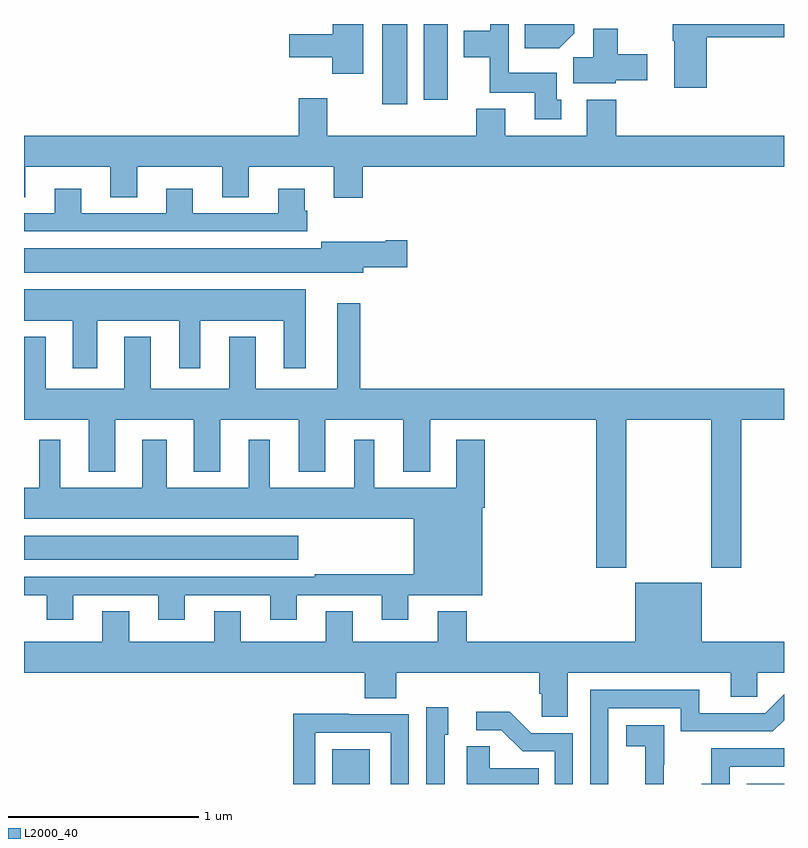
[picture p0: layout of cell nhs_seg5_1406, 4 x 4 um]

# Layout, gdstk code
import gdstk
lib = gdstk.Library(unit=1e-6, precision=1e-09)
def R(c, l, rs):  # rectangles x0, y0, x1, y1
    for r in rs: c.add(gdstk.rectangle(r[:2], r[2:], *l))
def P(c, l, *ps):  # polygons
    for p in ps: c.add(gdstk.Polygon(p, *l))
L2000_40 = (2000, 40)

nhs_seg5_1406 = lib.new_cell('nhs_seg5_1406')
R(nhs_seg5_1406, L2000_40, [(196.622,898.799,196.819,898.981), (198.804,898.799,199,898.8), (195,899.978,196.444,900.106), (196.886,902.376,197.017,902.799), (197.105,902.4,197.23,902.799)])
P(nhs_seg5_1406, L2000_40, [(198.593,902.728),(199,902.728),(199,902.799),(198.415,902.799),(198.415,902.711),(198.422,902.711),(198.422,902.463),(198.593,902.463)],
  [(196.786,902.799),(196.624,902.799),(196.624,902.746),(196.395,902.746),(196.395,902.624),(196.622,902.624),(196.622,902.538),(196.786,902.538)],
  [(197.896,902.75),(197.896,902.799),(197.635,902.799),(197.635,902.672),(197.818,902.672)],
  [(197.827,902.4),(197.803,902.4),(197.803,902.542),(197.55,902.542),(197.55,902.799),(197.454,902.799),(197.454,902.764),(197.315,902.764),(197.315,902.624),(197.452,902.624),(197.452,902.438),(197.687,902.438),(197.687,902.298),(197.827,902.298)],
  [(198.114,902.504),(198.28,902.504),(198.28,902.639),(198.126,902.639),(198.126,902.773),(197.996,902.773),(197.996,902.624),(197.891,902.624),(197.891,902.486),(198.114,902.486)],
  [(196.784,902.048),(199,902.048),(199,902.212),(198.116,902.212),(198.116,902.401),(197.963,902.401),(197.963,902.212),(197.533,902.212),(197.533,902.353),(197.381,902.353),(197.381,902.212),(196.597,902.212),(196.597,902.407),(196.445,902.407),(196.445,902.212),(195,902.212),(195,901.888),(195.007,901.888),(195.007,902.048),(195.455,902.048),(195.455,901.888),(195.595,901.888),(195.595,902.048),(196.043,902.048),(196.043,901.888),(196.183,901.888),(196.183,902.048),(196.631,902.048),(196.631,901.884),(196.784,901.884)],
  [(196.49,901.815),(196.477,901.815),(196.477,901.933),(196.337,901.933),(196.337,901.803),(195.889,901.803),(195.889,901.933),(195.749,901.933),(195.749,901.803),(195.301,901.803),(195.301,901.933),(195.161,901.933),(195.161,901.803),(195,901.803),(195,901.707),(196.49,901.707)],
  [(196.786,901.52),(197.017,901.52),(197.017,901.662),(196.904,901.662),(196.904,901.654),(196.565,901.654),(196.565,901.618),(195,901.618),(195,901.49),(196.786,901.49)],
  [(195.385,901.238),(195.818,901.238),(195.818,900.987),(195.928,900.987),(195.928,901.238),(196.367,901.238),(196.367,900.987),(196.483,900.987),(196.483,901.402),(195,901.402),(195,901.238),(195.257,901.238),(195.257,900.987),(195.385,900.987)],
  [(198.171,900.716),(198.616,900.716),(198.616,899.937),(198.776,899.937),(198.776,900.716),(199,900.716),(199,900.88),(196.771,900.88),(196.771,901.33),(196.649,901.33),(196.649,900.88),(196.219,900.88),(196.219,901.153),(196.079,901.153),(196.079,900.88),(195.667,900.88),(195.667,901.153),(195.527,901.153),(195.527,900.88),(195.115,900.88),(195.115,901.153),(195,901.153),(195,900.716),(195.341,900.716),(195.341,900.443),(195.481,900.443),(195.481,900.716),(195.893,900.716),(195.893,900.443),(196.033,900.443),(196.033,900.716),(196.445,900.716),(196.445,900.443),(196.585,900.443),(196.585,900.716),(196.997,900.716),(196.997,900.443),(197.137,900.443),(197.137,900.716),(198.011,900.716),(198.011,899.937),(198.171,899.937)],
  [(195.259,899.793),(195.707,899.793),(195.707,899.664),(195.847,899.664),(195.847,899.793),(196.295,899.793),(196.295,899.664),(196.435,899.664),(196.435,899.793),(196.883,899.793),(196.883,899.664),(197.023,899.664),(197.023,899.792),(197.413,899.792),(197.413,900.254),(197.426,900.254),(197.426,900.61),(197.276,900.61),(197.276,900.358),(196.843,900.358),(196.843,900.61),(196.739,900.61),(196.739,900.358),(196.294,900.358),(196.294,900.61),(196.184,900.61),(196.184,900.358),(195.751,900.358),(195.751,900.61),(195.623,900.61),(195.623,900.358),(195.19,900.358),(195.19,900.61),(195.08,900.61),(195.08,900.358),(195,900.358),(195,900.194),(197.051,900.194),(197.051,899.902),(196.531,899.902),(196.531,899.889),(195,899.889),(195,899.793),(195.119,899.793),(195.119,899.664),(195.259,899.664)],
  [(197.863,899.384),(198.719,899.384),(198.719,899.257),(198.858,899.257),(198.858,899.384),(199,899.384),(199,899.548),(198.568,899.548),(198.568,899.857),(198.218,899.857),(198.218,899.548),(197.33,899.548),(197.33,899.707),(197.177,899.707),(197.177,899.548),(196.729,899.548),(196.729,899.708),(196.589,899.708),(196.589,899.548),(196.141,899.548),(196.141,899.708),(196.001,899.708),(196.001,899.548),(195.553,899.548),(195.553,899.708),(195.413,899.708),(195.413,899.548),(195,899.548),(195,899.384),(196.793,899.384),(196.793,899.251),(196.958,899.251),(196.958,899.384),(197.711,899.384),(197.711,899.275),(197.724,899.275),(197.724,899.152),(197.863,899.152)],
  [(198.075,899.199),(198.456,899.199),(198.456,899.076),(198.942,899.076),(199,899.134),(199,899.272),(198.9,899.172),(198.553,899.172),(198.553,899.295),(197.979,899.295),(197.979,898.799),(198.075,898.799)],
  [(197.214,899.058),(197.233,899.058),(197.233,899.203),(197.118,899.203),(197.118,898.799),(197.214,898.799)],
  [(197.889,899.067),(197.67,899.067),(197.557,899.18),(197.379,899.18),(197.379,899.082),(197.513,899.082),(197.624,898.971),(197.793,898.971),(197.793,898.799),(197.889,898.799)],
  [(196.533,899.07),(196.929,899.07),(196.929,898.799),(197.025,898.799),(197.025,899.166),(196.709,899.166),(196.709,899.168),(196.417,899.168),(196.417,898.799),(196.533,898.799)],
  [(198.368,898.901),(198.369,898.901),(198.369,899.107),(198.171,899.107),(198.171,898.997),(198.269,898.997),(198.269,898.799),(198.368,898.799)],
  [(197.708,898.882),(197.451,898.882),(197.451,898.997),(197.33,898.997),(197.33,898.799),(197.708,898.799)],
  [(198.714,898.89),(199,898.89),(199,898.986),(198.616,898.986),(198.616,898.801),(198.567,898.801),(198.567,898.799),(198.714,898.799)])

lib.write_gds('nhs_seg5_1406.gds')
